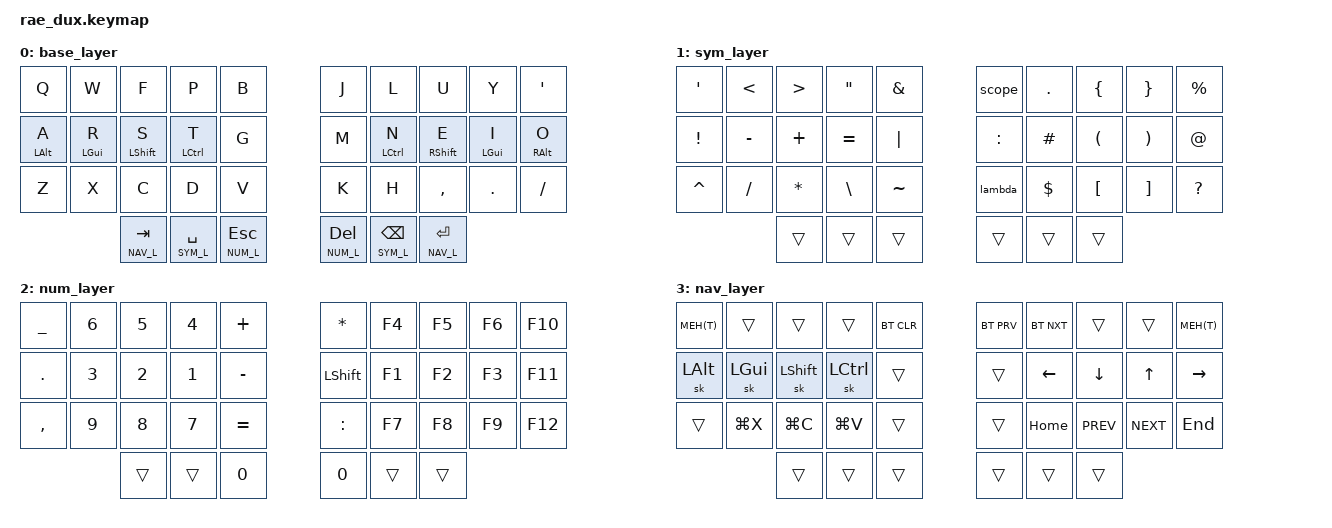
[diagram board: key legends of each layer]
/*
 * Copyright (c) 2021 The ZMK Contributors
 *
 * SPDX-License-Identifier: MIT
 */

#include <behaviors.dtsi>
#include <dt-bindings/zmk/bt.h>
#include <dt-bindings/zmk/keys.h>

&sk {
    release-after-ms = <750>;
    quick-release;
};

&caps_word {
    continue-list = <UNDERSCORE MINUS BSPC>;
};

#define BASE_L  0
#define SYM_L   1
#define NUM_L   2
#define NAV_L   3

#define CUT   LG(X)
#define COPY  LG(C)
#define PASTE LG(V)

#define MEH(KEY) LS(LC(LA(LG(KEY))))

/ {
    macros {
        ZMK_MACRO(scope, wait-ms = <30>; tap-ms = <30>; bindings = <&kp COLON &kp COLON>;)
        ZMK_MACRO(lambda, wait-ms = <30>; tap-ms = <30>; bindings = <&kp L &kp A &kp M &kp B &kp D &kp A>;)
    };

    combos {
        compatible = "zmk,combos";

        #define COMBO(NAME, BINDINGS, KEYPOS, TIMEOUT) \
              combo_##NAME { \
                timeout-ms = <TIMEOUT>; \
                bindings = <BINDINGS>; \
                key-positions = <KEYPOS>; \
              };

        /*                KEY POSITIONS

          ╭────────────────────╮ ╭────────────────────╮
          │  0   1   2   3   4 │ │  5   6   7   8   9 │
          │ 10  11  12  13  14 │ │ 15  16  17  18  19 │
          │ 20  21  22  23  24 │ │ 25  26  27  28  29 │
          ╰───────╮ 30  31  32 │ │ 33  34  35 ╭───────╯
                  ╰────────────╯ ╰────────────╯        */

        COMBO(caps_word_left, &caps_word, 13 14, 60)
        COMBO(caps_word_right, &caps_word, 15 16, 60)

        COMBO(grave, &kp GRAVE, 1 2, 60)
        COMBO(colon, &kp COLON, 7 8, 60)
        COMBO(equal, &kp EQUAL, 21 22, 60)
        COMBO(semicolon, &kp SEMI, 27 28, 60)

        COMBO(minus, &kp MINUS, 31 34, 60)
        COMBO(underscore, &kp UNDER, 32 33, 60)
    };

    behaviors {
        lhm: left_hand_positional_hold_tap {
            compatible = "zmk,behavior-hold-tap";
            label = "LEFT_POSITIONAL_HOLD_TAP";
            #binding-cells = <2>;
            flavor = "tap-preferred";
            tapping-term-ms = <200>;
            quick-tap-ms = <200>;
            global-quick-tap-ms = <100>;
            bindings = <&kp>, <&kp>;
            // hold-trigger-key-positions = <5 6 7 8 9 15 16 17 18 19 25 26 27 28 29 30 31 32 33 34 35>;
            hold-trigger-key-positions = <5 6 7 8 9 10 11 12 13 15 16 17 18 19 25 26 27 28 29 30 31 32 33 34 35>;
        };

        rhm: right_hand_positional_hold_tap {
            compatible = "zmk,behavior-hold-tap";
            label = "RIGHT_POSITIONAL_HOLD_TAP";
            #binding-cells = <2>;
            flavor = "tap-preferred";
            tapping-term-ms = <200>;
            quick-tap-ms = <200>;
            global-quick-tap-ms = <100>;
            bindings = <&kp>, <&kp>;
            // hold-trigger-key-positions = <0 1 2 3 4 10 11 12 13 14 20 21 22 23 24 30 31 32 33 34 35>;
            hold-trigger-key-positions = <0 1 2 3 4 10 11 12 13 14 16 17 18 19 20 21 22 23 24 30 31 32 33 34 35>;
        };

        base_lt: base_layer_hold_tap {
            compatible = "zmk,behavior-hold-tap";
            label = "BASE_LAYER_HOLD_TAP";
            #binding-cells = <2>;
            flavor = "tap-preferred";
            tapping-term-ms = <200>;
            quick-tap-ms = <200>;
            global-quick-tap-ms = <100>;
            bindings = <&mo>, <&kp>;
        };

        rpt_lt: repeat_hold_tap {
            compatible = "zmk,behavior-hold-tap";
            label = "REPEAT_HOLD_TAP";
            #binding-cells = <2>;
            flavor = "tap-preferred";
            tapping-term-ms = <200>;
            quick-tap-ms = <200>;
            global-quick-tap;
            bindings = <&mo>, <&key_repeat>;
        };
    };

	keymap {
		compatible = "zmk,keymap";

		base_layer {
			bindings = <
                   &kp Q        &kp W         &kp F              &kp P              &kp B              &kp J              &kp L               &kp U                 &kp Y         &kp APOS
                   &lhm LALT A  &lhm LGUI R   &lhm LSHFT S       &lhm LCTRL T       &kp G              &kp M              &rhm LCTRL N        &rhm RSHFT E          &rhm LGUI I   &rhm RALT O
                   &kp Z        &kp X         &kp C              &kp D              &kp V              &kp K              &kp H               &kp COMMA             &kp DOT       &kp FSLH
				 /*&            &*/           &base_lt NAV_L TAB &base_lt SYM_L SPC &base_lt NUM_L ESC &base_lt NUM_L DEL &base_lt SYM_L BSPC &base_lt NAV_L RET  /*&             &*/
			>;
		};

		sym_layer {
			bindings = <
                   &kp APOS     &kp LT        &kp GT        &kp DQT            &kp AMPS           &scope              &kp DOT          &kp LBRC                 &kp RBRC      &kp PRCNT
                   &kp EXCL     &kp MINUS     &kp PLUS      &kp EQUAL          &kp PIPE           &kp COLON           &kp HASH         &kp LPAR                 &kp RPAR      &kp AT
                   &kp CARET    &kp FSLH      &kp STAR      &kp BSLH           &kp TILDE          &lambda             &kp DLLR         &kp LBKT                 &kp RBKT      &kp QMARK
				 /*&            &*/           &trans        &trans             &trans             &trans              &trans           &trans                 /*&             &*/
			>;
		};

		num_layer {
			bindings = <
                   &kp UNDER    &kp N6        &kp N5        &kp N4             &kp PLUS           &kp STAR            &kp F4           &kp F5                   &kp F6        &kp F10
                   &kp DOT      &kp N3        &kp N2        &kp N1             &kp MINUS          &kp LSHFT           &kp F1           &kp F2                   &kp F3        &kp F11
                   &kp COMMA    &kp N9        &kp N8        &kp N7             &kp EQUAL          &kp COLON           &kp F7           &kp F8                   &kp F9        &kp F12
				 /*&            &*/           &trans        &trans             &kp N0             &kp N0              &trans           &trans                 /*&             &*/
			>;
		};

		nav_layer {
			bindings = <
                   &kp MEH(T)   &trans        &trans        &trans             &bt BT_CLR         &bt BT_PRV          &bt BT_NXT       &trans                   &trans        &kp MEH(T)
                   &sk LALT     &sk LGUI      &sk LSHFT     &sk LCTRL          &trans             &trans              &kp LEFT         &kp DOWN                 &kp UP        &kp RIGHT
                   &trans       &kp CUT       &kp COPY      &kp PASTE          &trans             &trans              &kp HOME         &kp K_PREV               &kp K_NEXT    &kp END
				 /*&            &*/           &trans        &trans             &trans             &trans              &trans           &trans             /*&             &*/
			>;
		};
	};
};
